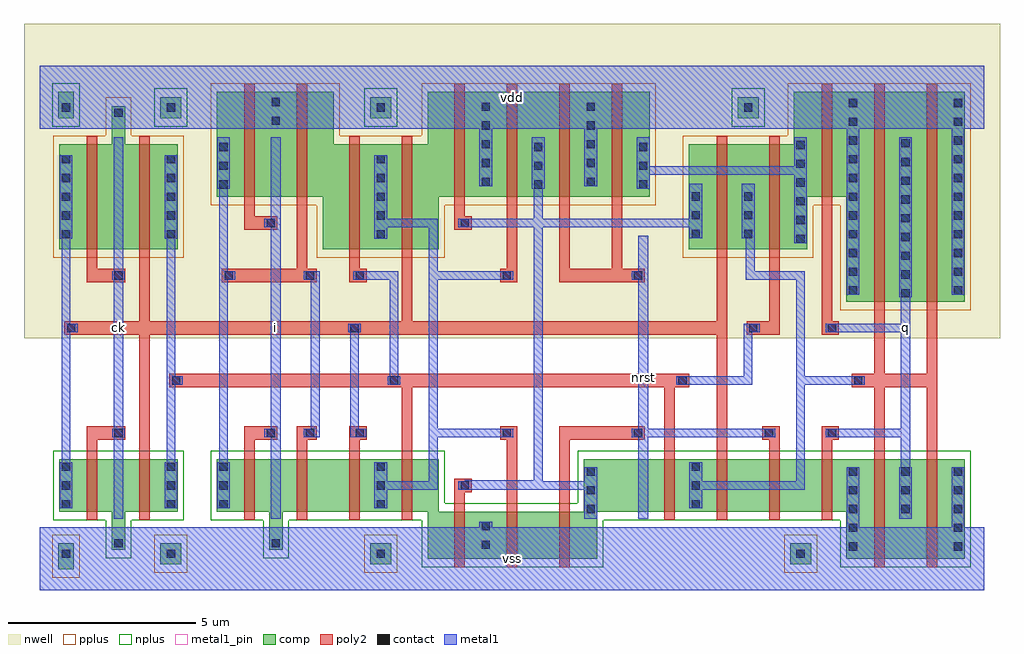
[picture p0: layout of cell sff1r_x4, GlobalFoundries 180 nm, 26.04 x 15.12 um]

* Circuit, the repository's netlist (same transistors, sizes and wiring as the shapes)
* sff1r_x4
.subckt sff1r_x4 vdd ck vss i nrst q
Mp_ck_1 nckr ck vdd vdd pfet_03v3 l=0.28um w=2.8um
Mn_ck_1 nckr ck vss vss nfet_03v3 l=0.28um w=1.4um
Mp_ckr_1 _net0 ckr sff_m vdd pfet_03v3 l=0.28um w=2.8um
Mn_ckr_2 y ckr sff_s vss nfet_03v3 l=0.28um w=1.4um
Mp_ckr_2 sff_s ckr _net3 vdd pfet_03v3 l=0.28um w=2.8um
Mn_ckr_1 sff_m ckr _net6 vss nfet_03v3 l=0.28um w=1.4um
Mp_i_1 u i vdd vdd pfet_03v3 l=0.28um w=2.8um
Mn_i_1 u i vss vss nfet_03v3 l=0.28um w=1.4um
Mp_nckr_1 vdd nckr ckr vdd pfet_03v3 l=0.28um w=2.8um
Mn_nckr_1 vss nckr ckr vss nfet_03v3 l=0.28um w=1.4um
Mp_nckr_3 y nckr sff_s vdd pfet_03v3 l=0.28um w=2.8um
Mn_nckr_2 _net7 nckr sff_m vss nfet_03v3 l=0.28um w=1.4um
Mn_nckr_3 sff_s nckr _net8 vss nfet_03v3 l=0.28um w=1.4um
Mp_nckr_2 sff_m nckr _net2 vdd pfet_03v3 l=0.28um w=2.8um
Mn_nrst_2 _net8 nrst _net5 vss nfet_03v3 l=0.28um w=1.4um
Mp_nrst_1 y nrst vdd vdd pfet_03v3 l=0.28um w=2.8um
Mn_nrst_1 _net4 nrst y vss nfet_03v3 l=0.28um w=1.26um
Mp_nrst_2 vdd nrst _net3 vdd pfet_03v3 l=0.28um w=2.8um
Mn_q_1 _net5 q vss vss nfet_03v3 l=0.28um w=1.4um
Mp_q_1 _net3 q vdd vdd pfet_03v3 l=0.28um w=2.8um
Mn_sffm_1 vss sff_m _net4 vss nfet_03v3 l=0.28um w=1.26um
Mp_sffm_1 vdd sff_m y vdd pfet_03v3 l=0.28um w=2.8um
Mn_sffs_1 vss sff_s q vss nfet_03v3 l=0.28um w=2.66um
Mn_sffs_2 q sff_s vss vss nfet_03v3 l=0.28um w=2.66um
Mp_sffs_1 vdd sff_s q vdd pfet_03v3 l=0.28um w=5.6um
Mp_sffs_2 q sff_s vdd vdd pfet_03v3 l=0.28um w=5.6um
Mp_u_1 vdd u _net0 vdd pfet_03v3 l=0.28um w=2.8um
Mn_u_1 vss u _net7 vss nfet_03v3 l=0.28um w=1.4um
Mp_y_1 _net2 y vdd vdd pfet_03v3 l=0.28um w=2.8um
Mn_y_1 _net6 y vss vss nfet_03v3 l=0.28um w=1.26um
.ends sff1r_x4

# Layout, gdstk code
import gdstk
lib = gdstk.Library(unit=1e-6, precision=1e-09)
def R(c, l, rs):  # rectangles x0, y0, x1, y1
    for r in rs: c.add(gdstk.rectangle(r[:2], r[2:], *l))
def A(c, l, x, y, w, h, nx, ny, dx, dy):  # array of equal rectangles
    R(c, l, [(x+i*dx, y+j*dy, x+i*dx+w, y+j*dy+h) for i in range(nx) for j in range(ny)])
def P(c, l, *ps):  # polygons
    for p in ps: c.add(gdstk.Polygon(p, *l))
nwell = (21, 0)
comp = (22, 0)
poly2 = (30, 0)
pplus = (31, 0)
nplus = (32, 0)
contact = (33, 0)
metal1 = (34, 0)
metal1_pin = (34, 10)

sff1r_x4 = lib.new_cell('sff1r_x4')
R(sff1r_x4, nwell, [(-0.42,6.72,25.62,15.12)])
R(sff1r_x4, comp, [(0.49,0.56,0.91,1.26), (3.22,0.7,3.78,1.26), (8.82,0.7,9.38,1.26), (20.02,0.7,20.58,1.26), (0.49,12.6,0.91,13.3), (3.22,12.6,3.78,13.16), (8.82,12.6,9.38,13.16), (18.62,12.6,19.18,13.16)])
P(sff1r_x4, comp, [(1.92,1.08),(1.92,2.1),(0.52,2.1),(0.52,3.5),(3.68,3.5),(3.68,2.1),(2.28,2.1),(2.28,1.08)],
  [(0.52,9.1),(0.52,11.9),(1.92,11.9),(1.92,12.92),(2.28,12.92),(2.28,11.9),(3.68,11.9),(3.68,9.1)],
  [(21.52,7.7),(21.52,10.5),(20.48,10.5),(20.48,9.1),(17.32,9.1),(17.32,11.9),(20.12,11.9),(20.12,13.3),(24.68,13.3),(24.68,7.7)],
  [(7.55,9.1),(7.55,10.5),(4.72,10.5),(4.72,13.3),(7.85,13.3),(7.85,11.9),(10.35,11.9),(10.35,13.3),(16.28,13.3),(16.28,10.5),(10.65,10.5),(10.65,9.1)],
  [(10.35,0.84),(10.35,2.1),(6.48,2.1),(6.48,1.08),(6.12,1.08),(6.12,2.1),(4.72,2.1),(4.72,3.5),(10.65,3.5),(10.65,2.1),(14.52,2.1),(14.52,3.5),(24.68,3.5),(24.68,0.84),(21.52,0.84),(21.52,2.1),(14.88,2.1),(14.88,0.84)])
P(sff1r_x4, poly2, [(8.26,1.88),(8.26,4.38),(8.72,4.38),(8.72,4.02),(8.54,4.02),(8.54,1.88)],
  [(2.66,1.88),(2.66,6.82),(0.66,6.82),(0.66,7.18),(2.66,7.18),(2.66,12.12),(2.94,12.12),(2.94,7.18),(9.66,7.18),(9.66,12.12),(9.94,12.12),(9.94,7.18),(18.06,7.18),(18.06,12.12),(18.34,12.12),(18.34,1.88),(18.06,1.88),(18.06,6.82),(2.94,6.82),(2.94,1.88)],
  [(1.26,1.88),(1.26,4.38),(2.28,4.38),(2.28,4.02),(1.54,4.02),(1.54,1.88)],
  [(1.26,8.22),(1.26,12.12),(1.54,12.12),(1.54,8.58),(2.28,8.58),(2.28,8.22)],
  [(12.28,8.22),(12.28,8.58),(12.46,8.58),(12.46,13.52),(12.74,13.52),(12.74,8.22)],
  [(12.46,0.62),(12.46,4.02),(12.28,4.02),(12.28,4.38),(12.74,4.38),(12.74,0.62)],
  [(18.86,6.82),(18.86,7.18),(19.46,7.18),(19.46,12.12),(19.74,12.12),(19.74,6.82)],
  [(8.26,8.22),(8.26,12.12),(8.54,12.12),(8.54,8.58),(8.72,8.58),(8.72,8.22)],
  [(9.66,1.88),(9.66,5.42),(3.46,5.42),(3.46,5.78),(17.33,5.78),(17.33,5.42),(16.94,5.42),(16.94,1.88),(16.66,1.88),(16.66,5.42),(9.94,5.42),(9.94,1.88)],
  [(11.06,9.62),(11.06,13.52),(11.34,13.52),(11.34,9.98),(11.52,9.98),(11.52,9.62)],
  [(11.06,0.62),(11.06,2.98),(11.52,2.98),(11.52,2.62),(11.34,2.62),(11.34,0.62)],
  [(22.26,0.62),(22.26,5.42),(21.66,5.42),(21.66,5.78),(22.26,5.78),(22.26,13.52),(22.54,13.52),(22.54,5.78),(23.66,5.78),(23.66,13.52),(23.94,13.52),(23.94,0.62),(23.66,0.62),(23.66,5.42),(22.54,5.42),(22.54,0.62)],
  [(6.86,1.88),(6.86,4.38),(7.39,4.38),(7.39,4.02),(7.14,4.02),(7.14,1.88)],
  [(4.86,8.22),(4.86,8.58),(6.86,8.58),(6.86,13.52),(7.14,13.52),(7.14,8.58),(7.39,8.58),(7.39,8.22)],
  [(5.46,9.62),(5.46,13.52),(5.74,13.52),(5.74,9.98),(6.34,9.98),(6.34,9.62)],
  [(5.46,1.88),(5.46,4.38),(6.34,4.38),(6.34,4.02),(5.74,4.02),(5.74,1.88)],
  [(13.86,0.62),(13.86,4.38),(16.14,4.38),(16.14,4.02),(14.14,4.02),(14.14,0.62)],
  [(19.46,1.88),(19.46,4.02),(19.28,4.02),(19.28,4.38),(19.74,4.38),(19.74,1.88)],
  [(13.86,8.22),(13.86,13.52),(14.14,13.52),(14.14,8.58),(15.26,8.58),(15.26,13.52),(15.54,13.52),(15.54,8.58),(16.14,8.58),(16.14,8.22)],
  [(20.86,6.82),(20.86,13.52),(21.14,13.52),(21.14,7.18),(21.32,7.18),(21.32,6.82)],
  [(20.86,1.88),(20.86,4.38),(21.32,4.38),(21.32,4.02),(21.14,4.02),(21.14,1.88)])
R(sff1r_x4, pplus, [(0.33,0.33,1.07,1.49), (3.06,0.47,3.94,1.49), (8.66,0.47,9.54,1.49), (19.86,0.47,20.74,1.49)])
P(sff1r_x4, pplus, [(0.36,8.87),(0.36,12.13),(1.76,12.13),(1.76,13.15),(2.44,13.15),(2.44,12.13),(3.84,12.13),(3.84,8.87)],
  [(21.36,7.47),(21.36,10.27),(20.64,10.27),(20.64,8.87),(17.16,8.87),(17.16,12.13),(19.96,12.13),(19.96,13.53),(24.84,13.53),(24.84,7.47)],
  [(7.39,8.87),(7.39,10.27),(4.56,10.27),(4.56,13.53),(8.01,13.53),(8.01,12.13),(10.19,12.13),(10.19,13.53),(16.44,13.53),(16.44,10.27),(10.81,10.27),(10.81,8.87)])
R(sff1r_x4, nplus, [(0.33,12.37,1.07,13.53), (3.06,12.37,3.94,13.39), (8.66,12.37,9.54,13.39), (18.46,12.37,19.34,13.39)])
P(sff1r_x4, nplus, [(1.76,0.85),(1.76,1.87),(0.36,1.87),(0.36,3.73),(3.84,3.73),(3.84,1.87),(2.44,1.87),(2.44,0.85)],
  [(10.19,0.61),(10.19,1.87),(6.64,1.87),(6.64,0.85),(5.96,0.85),(5.96,1.87),(4.56,1.87),(4.56,3.73),(10.81,3.73),(10.81,2.33),(14.36,2.33),(14.36,3.73),(24.84,3.73),(24.84,0.61),(21.36,0.61),(21.36,1.87),(15.04,1.87),(15.04,0.61)])
A(sff1r_x4, contact, 14.59, 2.06, 0.22, 0.22, 1, 3, 0, 0.5)
A(sff1r_x4, contact, 21.59, 2.06, 0.22, 0.22, 3, 3, 1.4, 0.5)
A(sff1r_x4, contact, 0.59, 2.19, 0.22, 0.22, 1, 3, 0, 0.5)
A(sff1r_x4, contact, 3.39, 2.19, 0.22, 0.22, 1, 3, 0, 0.5)
A(sff1r_x4, contact, 4.79, 2.19, 0.22, 0.22, 1, 3, 0, 0.5)
A(sff1r_x4, contact, 8.99, 2.19, 0.22, 0.22, 1, 3, 0, 0.5)
A(sff1r_x4, contact, 17.39, 2.19, 0.22, 0.22, 1, 3, 0, 0.5)
A(sff1r_x4, contact, 12.35, 4.09, 0.22, 0.22, 3, 1, 3.5, 0)
A(sff1r_x4, contact, 22.99, 7.82, 0.22, 0.22, 1, 9, 0, 0.5)
A(sff1r_x4, contact, 21.59, 7.89, 0.22, 0.22, 1, 11, 0, 0.5)
A(sff1r_x4, contact, 24.39, 7.89, 0.22, 0.22, 1, 11, 0, 0.5)
A(sff1r_x4, contact, 20.19, 9.27, 0.22, 0.22, 1, 6, 0, 0.5)
A(sff1r_x4, contact, 0.59, 9.39, 0.22, 0.22, 1, 5, 0, 0.5)
A(sff1r_x4, contact, 3.39, 9.39, 0.22, 0.22, 1, 5, 0, 0.5)
A(sff1r_x4, contact, 8.99, 9.39, 0.22, 0.22, 1, 5, 0, 0.5)
A(sff1r_x4, contact, 17.39, 9.4, 0.22, 0.22, 1, 3, 0, 0.5)
A(sff1r_x4, contact, 18.79, 9.4, 0.22, 0.22, 1, 3, 0, 0.5)
A(sff1r_x4, contact, 4.79, 10.72, 0.22, 0.22, 1, 3, 0, 0.5)
A(sff1r_x4, contact, 13.19, 10.72, 0.22, 0.22, 1, 3, 0, 0.5)
A(sff1r_x4, contact, 15.99, 10.72, 0.22, 0.22, 1, 3, 0, 0.5)
A(sff1r_x4, contact, 11.79, 10.79, 0.22, 0.22, 1, 5, 0, 0.5)
A(sff1r_x4, contact, 14.59, 10.79, 0.22, 0.22, 1, 5, 0, 0.5)
R(sff1r_x4, contact, [(0.59,0.87,0.81,1.09), (3.39,0.87,3.61,1.09), (8.99,0.87,9.21,1.09), (20.19,0.87,20.41,1.09), (21.59,1.06,21.81,1.28), (24.39,1.06,24.61,1.28), (11.79,1.11,12.01,1.33), (1.99,1.15,2.21,1.37), (6.19,1.15,6.41,1.37), (21.59,1.56,21.81,1.78), (24.39,1.56,24.61,1.78), (11.79,1.61,12.01,1.83), (11.23,2.69,11.45,2.91), (1.99,4.09,2.21,4.31), (6.05,4.09,6.27,4.31), (7.1,4.09,7.32,4.31), (8.43,4.09,8.65,4.31), (21.03,4.09,21.25,4.31), (3.53,5.49,3.75,5.71), (9.34,5.49,9.56,5.71), (17.04,5.49,17.26,5.71), (21.73,5.49,21.95,5.71), (0.73,6.89,0.95,7.11), (8.29,6.89,8.51,7.11), (18.93,6.89,19.15,7.11), (21.03,6.89,21.25,7.11), (1.99,8.29,2.21,8.51), (4.93,8.29,5.15,8.51), (7.1,8.29,7.32,8.51), (8.43,8.29,8.65,8.51), (12.35,8.29,12.57,8.51), (15.85,8.29,16.07,8.51), (6.05,9.69,6.27,9.91), (11.23,9.69,11.45,9.91), (6.19,12.42,6.41,12.64), (1.99,12.63,2.21,12.85), (0.59,12.77,0.81,12.99), (3.39,12.77,3.61,12.99), (8.99,12.77,9.21,12.99), (18.79,12.77,19.01,12.99), (6.19,12.92,6.41,13.14)])
P(sff1r_x4, metal1, [(8.285,4.085),(8.285,6.885),(8.23,6.885),(8.23,7.115),(8.57,7.115),(8.57,6.885),(8.515,6.885),(8.515,4.315),(8.71,4.315),(8.71,4.085)],
  [(0.53,2.185),(0.53,3.415),(0.585,3.415),(0.585,9.385),(0.53,9.385),(0.53,11.615),(0.87,11.615),(0.87,9.385),(0.815,9.385),(0.815,7.115),(1.01,7.115),(1.01,6.885),(0.815,6.885),(0.815,3.415),(0.87,3.415),(0.87,2.185)],
  [(21.53,7.885),(21.53,12.32),(14.87,12.32),(14.87,10.785),(14.53,10.785),(14.53,12.32),(12.07,12.32),(12.07,10.785),(11.73,10.785),(11.73,12.32),(0,12.32),(0,14),(25.2,14),(25.2,12.32),(24.67,12.32),(24.67,7.885),(24.33,7.885),(24.33,12.32),(21.87,12.32),(21.87,7.885)],
  [(1.97,1.91),(1.97,4.085),(1.93,4.085),(1.93,4.315),(1.97,4.315),(1.97,8.285),(1.93,8.285),(1.93,8.515),(1.97,8.515),(1.97,12.09),(2.23,12.09),(2.23,8.515),(2.27,8.515),(2.27,8.285),(2.23,8.285),(2.23,4.315),(2.27,4.315),(2.27,4.085),(2.23,4.085),(2.23,1.91)],
  [(0,0),(0,1.68),(11.73,1.68),(11.73,1.835),(12.07,1.835),(12.07,1.68),(21.53,1.68),(21.53,3.285),(21.87,3.285),(21.87,1.68),(24.33,1.68),(24.33,3.285),(24.67,3.285),(24.67,1.68),(25.2,1.68),(25.2,0)],
  [(8.93,2.185),(8.93,3.415),(9.27,3.415),(9.27,2.915),(10.385,2.915),(10.385,9.685),(9.27,9.685),(9.27,9.385),(8.93,9.385),(8.93,11.615),(9.27,11.615),(9.27,9.915),(10.615,9.915),(10.615,8.515),(12.63,8.515),(12.63,8.285),(10.615,8.285),(10.615,4.315),(12.63,4.315),(12.63,4.085),(10.615,4.085),(10.615,2.685),(9.27,2.685),(9.27,2.185)],
  [(3.33,2.185),(3.33,3.415),(3.385,3.415),(3.385,9.385),(3.33,9.385),(3.33,11.615),(3.67,11.615),(3.67,9.385),(3.615,9.385),(3.615,5.715),(3.81,5.715),(3.81,5.485),(3.615,5.485),(3.615,3.415),(3.67,3.415),(3.67,2.185)],
  [(9.28,5.485),(9.28,5.715),(9.335,5.715),(9.335,8.285),(8.37,8.285),(8.37,8.515),(9.565,8.515),(9.565,5.715),(9.62,5.715),(9.62,5.485)],
  [(16.98,5.485),(16.98,5.715),(18.785,5.715),(18.785,7.115),(19.21,7.115),(19.21,6.885),(19.015,6.885),(19.015,5.485)],
  [(14.53,1.91),(14.53,2.685),(11.17,2.685),(11.17,2.915),(11.34,2.915),(11.34,2.94),(13.185,2.94),(13.185,9.685),(11.17,9.685),(11.17,9.915),(13.185,9.915),(13.185,10.715),(13.13,10.715),(13.13,12.09),(13.47,12.09),(13.47,10.715),(13.415,10.715),(13.415,9.915),(17.33,9.915),(17.33,10.855),(17.67,10.855),(17.67,9.395),(17.33,9.395),(17.33,9.685),(13.415,9.685),(13.415,2.915),(14.53,2.915),(14.53,3.285),(14.87,3.285),(14.87,1.91)],
  [(17.33,2.185),(17.33,3.415),(17.67,3.415),(17.67,2.915),(20.185,2.915),(20.185,8.285),(18.84,8.285),(18.84,9.395),(18.73,9.395),(18.73,10.855),(19.07,10.855),(19.07,8.515),(20.415,8.515),(20.415,5.715),(22.01,5.715),(22.01,5.485),(20.415,5.485),(20.415,2.685),(17.67,2.685),(17.67,2.185)],
  [(20.13,9.265),(20.13,11.085),(16.27,11.085),(16.27,10.715),(15.93,10.715),(15.93,12.09),(16.27,12.09),(16.27,11.315),(20.13,11.315),(20.13,12.09),(20.47,12.09),(20.47,9.265)],
  [(4.73,2.185),(4.73,3.415),(4.785,3.415),(4.785,10.715),(4.73,10.715),(4.73,12.09),(5.07,12.09),(5.07,10.715),(5.015,10.715),(5.015,8.515),(5.21,8.515),(5.21,8.285),(5.015,8.285),(5.015,3.415),(5.07,3.415),(5.07,2.185)],
  [(7.04,4.085),(7.04,4.315),(7.235,4.315),(7.235,8.285),(7.04,8.285),(7.04,8.515),(7.465,8.515),(7.465,4.085)],
  [(6.17,1.91),(6.17,4.085),(5.99,4.085),(5.99,4.315),(6.17,4.315),(6.17,9.685),(5.99,9.685),(5.99,9.915),(6.17,9.915),(6.17,12.09),(6.43,12.09),(6.43,1.91)],
  [(15.97,1.91),(15.97,4.085),(15.79,4.085),(15.79,4.315),(15.97,4.315),(15.97,8.285),(15.79,8.285),(15.79,8.515),(15.97,8.515),(15.97,9.455),(16.23,9.455),(16.23,4.315),(19.63,4.315),(19.63,4.085),(16.23,4.085),(16.23,1.91)],
  [(22.93,1.91),(22.93,3.285),(22.97,3.285),(22.97,4.085),(20.97,4.085),(20.97,4.315),(22.97,4.315),(22.97,6.885),(20.97,6.885),(20.97,7.115),(22.97,7.115),(22.97,7.815),(22.93,7.815),(22.93,12.09),(23.27,12.09),(23.27,7.815),(23.23,7.815),(23.23,3.285),(23.27,3.285),(23.27,1.91)])
R(sff1r_x4, metal1_pin, [(0,0,25.2,1.68), (1.97,1.91,2.23,12.09), (6.17,1.91,6.43,12.09), (15.97,1.91,16.23,9.455), (22.97,1.91,23.23,12.09), (0,12.32,25.2,14)])
sff1r_x4.add(gdstk.Label('vdd', (12.6,13.16), layer=34, texttype=10))
sff1r_x4.add(gdstk.Label('ck', (2.1,7), layer=34, texttype=10))
sff1r_x4.add(gdstk.Label('vss', (12.6,0.84), layer=34, texttype=10))
sff1r_x4.add(gdstk.Label('i', (6.3,7), layer=34, texttype=10))
sff1r_x4.add(gdstk.Label('nrst', (16.1,5.683), layer=34, texttype=10))
sff1r_x4.add(gdstk.Label('q', (23.1,7), layer=34, texttype=10))

lib.write_gds('sff1r_x4.gds')
